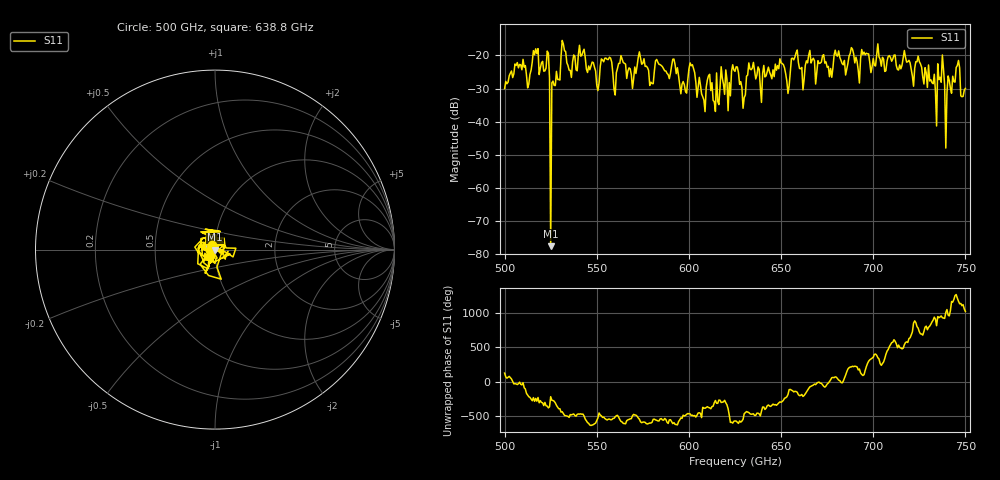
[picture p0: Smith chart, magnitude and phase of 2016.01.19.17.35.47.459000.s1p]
!Created with skrf (http://scikit-rf.org).
# GHz S RI R 50.0
!freq ReS11 ImS11
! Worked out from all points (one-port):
!   401 points, 500 GHz to 750 GHz, reference 50 ohm
!   lowest |S11| = -77.6 dB at 525 GHz (marker M1), VSWR 1.00, Z = 50 + j0.00829 ohm
!   |S11| at or under -10 dB: start of sweep to end of sweep
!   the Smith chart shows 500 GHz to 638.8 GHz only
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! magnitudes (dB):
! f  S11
! 500 GHz  -30.0
! 506.9 GHz  -22.2
! 513.1 GHz  -28.6
! 516.9 GHz  -18.0
! 523.1 GHz  -18.7
! 523.8 GHz  -19.3
! 525 GHz  -77.6
! 526.2 GHz  -27.7
! 526.9 GHz  -29.0
! 531.2 GHz  -15.5
! 541.9 GHz  -20.0
! 550 GHz  -29.0
! 562.5 GHz  -22.4
! 593.8 GHz  -23.7
! 601.9 GHz  -22.8
! 615 GHz  -25.3
! 625 GHz  -24.8
! 629.4 GHz  -36.0
! 633.8 GHz  -24.3
! 653.8 GHz  -31.5
! 656.2 GHz  -20.8
! 687.5 GHz  -19.4
! 718.8 GHz  -21.9
! 733.1 GHz  -25.7
! 736.2 GHz  -26.6
! 740.6 GHz  -26.2
! 745.6 GHz  -23.0
! 750 GHz  -29.9
